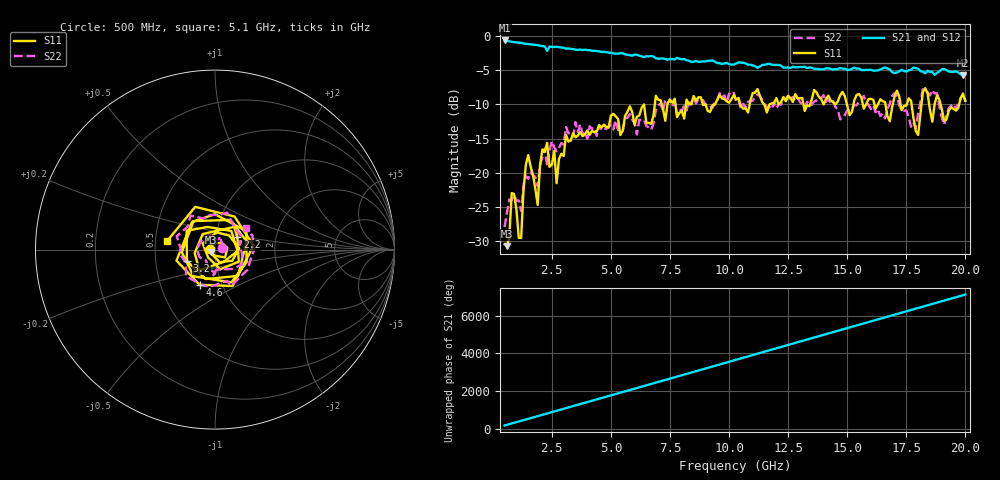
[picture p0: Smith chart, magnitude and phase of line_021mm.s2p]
!Created with skrf (http://scikit-rf.org).
# GHz S RI R 50.0
!freq ReS11 ImS11 ReS21 ImS21 ReS12 ImS12 ReS22 ImS22
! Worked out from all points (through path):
!   196 points, 500 MHz to 20 GHz, reference 50 ohm
!   highest |S21| = -0.61 dB at 500 MHz (marker M1); lowest = -5.7 dB at 19.9 GHz (marker M2)
!   lowest |S11| = -30.8 dB at 600 MHz (marker M3), VSWR 1.06, Z = 47.6 - j1.51 ohm
!   |S11| at or under -10 dB: start of sweep to 6.396 GHz; 6.401 GHz to 6.856 GHz (455.6 MHz wide, 6.87 % of centre); 18.95 GHz to 19.73 GHz (782 MHz wide, 4.04 % of centre)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
!   |S22| runs from -28.0 to -7.8 dB; largest |S21 - S12| = 0.44
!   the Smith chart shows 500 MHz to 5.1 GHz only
!   S11 on the Smith chart (normalised r, x): 500 MHz: 0.94, +0.01; 2.2 GHz: 1.27, +0.18; 3.2 GHz: 0.72, -0.09; 4.6 GHz: 0.78, -0.32; 5.1 GHz: 0.58, +0.06
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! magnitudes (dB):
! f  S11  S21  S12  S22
! 500 MHz  -30.5  -0.6  -0.6  -28.0
! 600 MHz  -30.8  -0.7  -0.7  -25.8
! 800 MHz  -23.0  -0.8  -0.9  -24.0
! 1.2 GHz  -29.6  -1.0  -1.0  -25.6
! 1.5 GHz  -17.4  -1.1  -1.2  -20.9
! 1.9 GHz  -24.7  -1.3  -1.3  -22.0
! 2.2 GHz  -16.9  -1.5  -1.5  -16.5
! 2.7 GHz  -21.5  -1.5  -1.6  -16.9
! 3.2 GHz  -15.4  -1.8  -1.9  -14.2
! 3.8 GHz  -14.6  -2.0  -2.1  -14.3
! 4.6 GHz  -13.4  -2.3  -2.4  -13.7
! 5.1 GHz  -11.4  -2.5  -2.5  -13.7
! 7 GHz  -9.3  -3.3  -3.4  -10.1
! 10.3 GHz  -9.3  -4.0  -4.0  -9.6
! 13.5 GHz  -9.2  -4.6  -4.6  -10.0
! 16.8 GHz  -12.5  -4.9  -5.0  -9.9
! 17.1 GHz  -8.0  -5.3  -5.4  -8.7
! 18 GHz  -14.5  -4.8  -4.8  -11.3
! 18.3 GHz  -7.6  -5.4  -5.4  -8.1
! 19.1 GHz  -12.4  -4.8  -4.9  -13.0
! 19.9 GHz  -8.5  -5.7  -5.7  -8.4
! 20 GHz  -9.5  -5.6  -5.6  -9.6
